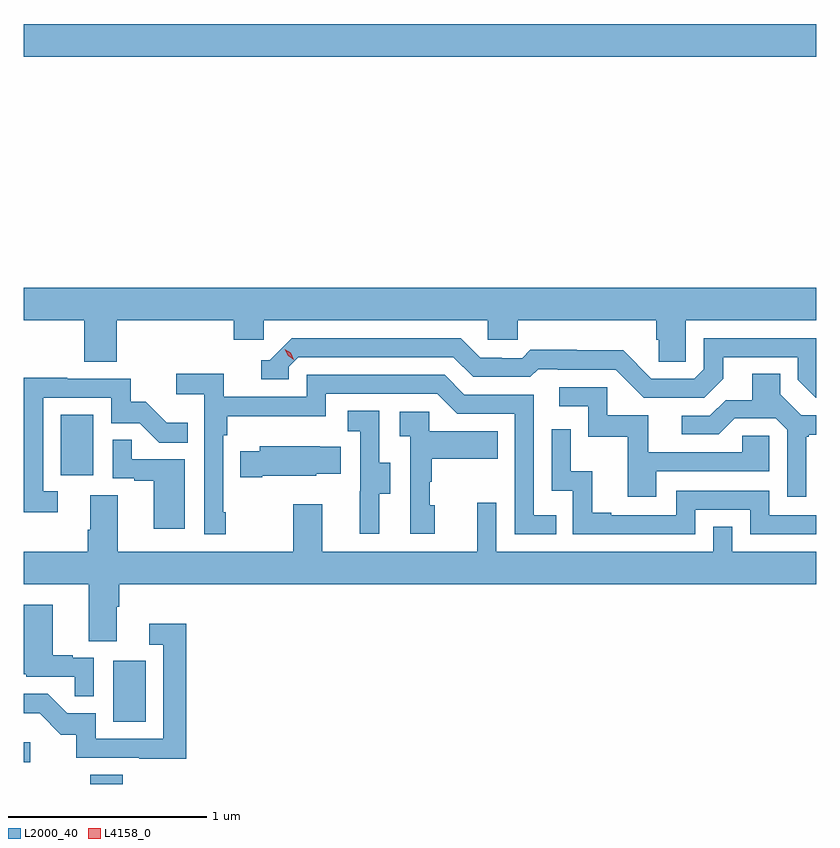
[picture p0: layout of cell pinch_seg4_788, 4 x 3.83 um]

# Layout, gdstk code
import gdstk
lib = gdstk.Library(unit=1e-6, precision=1e-09)
def R(c, l, rs):  # rectangles x0, y0, x1, y1
    for r in rs: c.add(gdstk.rectangle(r[:2], r[2:], *l))
def P(c, l, *ps):  # polygons
    for p in ps: c.add(gdstk.Polygon(p, *l))
L2000_40 = (2000, 40)
L4158_0 = (4158, 0)

pinch_seg4_788 = lib.new_cell('pinch_seg4_788')
R(pinch_seg4_788, L2000_40, [(805.271,823.785,805.436,823.832), (804.936,823.894,804.97,823.996), (805.388,824.1,805.552,824.407), (805.124,825.342,805.288,825.649), (804.936,827.456,808.936,827.62)])
P(pinch_seg4_788, L2000_40, [(805.406,826.124),(805.997,826.124),(805.997,826.026),(806.148,826.026),(806.148,826.124),(807.279,826.124),(807.279,826.026),(807.429,826.026),(807.429,826.124),(808.127,826.124),(808.127,826.026),(808.141,826.026),(808.141,825.916),(808.278,825.916),(808.278,826.124),(808.936,826.124),(808.936,826.288),(804.936,826.288),(804.936,826.124),(805.241,826.124),(805.241,825.916),(805.406,825.916)],
  [(808.465,825.829),(808.465,825.939),(808.842,825.939),(808.842,825.825),(808.932,825.735),(808.936,825.735),(808.936,826.035),(808.368,826.035),(808.368,825.879),(808.32,825.831),(808.104,825.831),(807.962,825.973),(807.726,825.973),(807.726,825.976),(807.493,825.976),(807.451,825.933),(807.348,825.933),(807.348,825.936),(807.241,825.936),(807.142,826.035),(806.289,826.035),(806.178,825.924),(806.135,825.924),(806.135,825.828),(806.274,825.828),(806.274,825.891),(806.322,825.939),(807.105,825.939),(807.204,825.84),(807.493,825.84),(807.532,825.879),(807.631,825.879),(807.631,825.876),(807.924,825.876),(808.065,825.735),(808.371,825.735)],
  [(805.957,825.157),(805.944,825.157),(805.944,825.545),(805.964,825.545),(805.964,825.641),(806.46,825.641),(806.46,825.753),(807.024,825.753),(807.123,825.654),(807.414,825.654),(807.414,825.045),(807.623,825.045),(807.623,825.141),(807.51,825.141),(807.51,825.75),(807.16,825.75),(807.061,825.849),(806.364,825.849),(806.364,825.738),(805.946,825.738),(805.946,825.854),(805.707,825.854),(805.707,825.752),(805.848,825.752),(805.848,825.045),(805.957,825.045)],
  [(808.885,825.537),(808.897,825.537),(808.897,825.548),(808.936,825.548),(808.936,825.645),(808.86,825.645),(808.753,825.752),(808.753,825.854),(808.613,825.854),(808.613,825.722),(808.478,825.722),(808.398,825.642),(808.257,825.642),(808.257,825.549),(808.444,825.549),(808.525,825.63),(808.731,825.63),(808.788,825.573),(808.788,825.234),(808.885,825.234)],
  [(805.108,825.261),(805.035,825.261),(805.035,825.735),(805.377,825.735),(805.377,825.606),(805.521,825.606),(805.619,825.508),(805.763,825.508),(805.763,825.607),(805.659,825.607),(805.552,825.714),(805.476,825.714),(805.476,825.831),(805.157,825.831),(805.157,825.836),(804.936,825.836),(804.936,825.156),(805.108,825.156)],
  [(808.129,825.363),(808.698,825.363),(808.698,825.543),(808.561,825.543),(808.561,825.459),(808.087,825.459),(808.087,825.645),(807.882,825.645),(807.882,825.786),(807.639,825.786),(807.639,825.69),(807.786,825.69),(807.786,825.537),(807.985,825.537),(807.985,825.234),(808.129,825.234)],
  [(806.731,825.25),(806.785,825.25),(806.785,825.405),(806.73,825.405),(806.73,825.668),(806.571,825.668),(806.571,825.565),(806.634,825.565),(806.634,825.261),(806.633,825.261),(806.633,825.048),(806.731,825.048)],
  [(807.01,825.192),(806.985,825.192),(806.985,825.311),(806.995,825.311),(806.995,825.425),(807.329,825.425),(807.329,825.565),(806.982,825.565),(806.982,825.663),(806.835,825.663),(806.835,825.539),(806.886,825.539),(806.886,825.048),(807.01,825.048)],
  [(808.326,825.168),(808.602,825.168),(808.602,825.045),(808.936,825.045),(808.936,825.141),(808.698,825.141),(808.698,825.264),(808.23,825.264),(808.23,825.141),(807.901,825.141),(807.901,825.154),(807.806,825.154),(807.806,825.362),(807.696,825.362),(807.696,825.574),(807.6,825.574),(807.6,825.264),(807.708,825.264),(807.708,825.045),(808.326,825.045)],
  [(805.75,825.423),(805.481,825.423),(805.481,825.521),(805.386,825.521),(805.386,825.327),(805.493,825.327),(805.493,825.315),(805.592,825.315),(805.592,825.072),(805.75,825.072)],
  [(806.14,825.341),(806.412,825.341),(806.412,825.35),(806.537,825.35),(806.537,825.487),(806.429,825.487),(806.429,825.49),(806.127,825.49),(806.127,825.463),(806.029,825.463),(806.029,825.334),(806.14,825.334)],
  [(805.405,824.68),(805.418,824.68),(805.418,824.792),(808.936,824.792),(808.936,824.956),(808.512,824.956),(808.512,825.083),(808.416,825.083),(808.416,824.956),(807.321,824.956),(807.321,825.205),(807.224,825.205),(807.224,824.956),(806.443,824.956),(806.443,825.196),(806.296,825.196),(806.296,824.956),(805.411,824.956),(805.411,825.242),(805.271,825.242),(805.271,825.068),(805.259,825.068),(805.259,824.956),(804.936,824.956),(804.936,824.792),(805.265,824.792),(805.265,824.506),(805.405,824.506)],
  [(805.29,824.421),(805.184,824.421),(805.184,824.434),(805.084,824.434),(805.084,824.689),(804.936,824.689),(804.936,824.34),(804.948,824.34),(804.948,824.325),(805.195,824.325),(805.195,824.227),(805.29,824.227)],
  [(805.757,824.593),(805.569,824.593),(805.569,824.487),(805.641,824.487),(805.641,824.013),(805.299,824.013),(805.299,824.142),(805.155,824.142),(805.057,824.24),(804.936,824.24),(804.936,824.141),(805.017,824.141),(805.124,824.034),(805.201,824.034),(805.201,823.917),(805.519,823.917),(805.519,823.912),(805.757,823.912)])
P(pinch_seg4_788, L4158_0, [(806.3,825.927),(806.27,825.947),(806.254,825.98),(806.254,825.98),(806.254,825.98),(806.285,825.96),(806.3,825.927),(806.3,825.927)])

lib.write_gds('pinch_seg4_788.gds')
